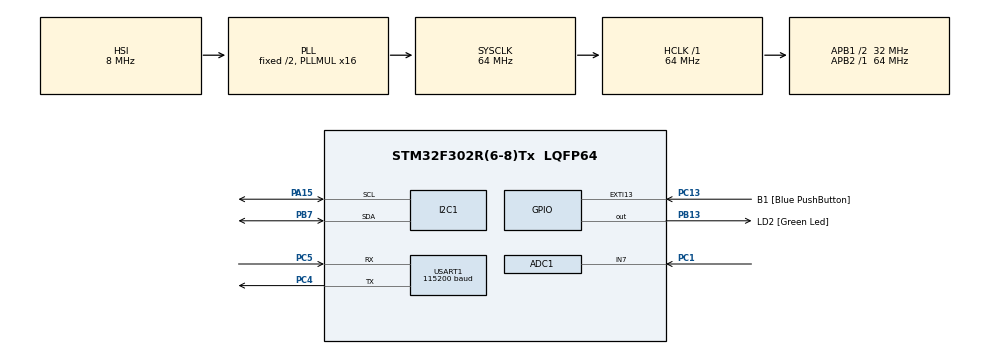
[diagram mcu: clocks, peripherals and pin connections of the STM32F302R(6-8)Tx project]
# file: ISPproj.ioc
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ADC1.Channel-10\#ChannelRegularConversion=ADC_CHANNEL_7
ADC1.ClockPrescaler=ADC_CLOCK_SYNC_PCLK_DIV4
ADC1.ContinuousConvMode=ENABLE
ADC1.DMAContinuousRequests=DISABLE
ADC1.DataAlign=ADC_DATAALIGN_RIGHT
ADC1.DiscontinuousConvMode=DISABLE
ADC1.EOCSelection=ADC_EOC_SEQ_CONV
ADC1.EnableInjectedConversion=DISABLE
ADC1.EnableRegularConversion=ENABLE
ADC1.LowPowerAutoWait=DISABLE
ADC1.NbrOfConversionFlag=1
ADC1.Offset-10\#ChannelRegularConversion=0
ADC1.OffsetNumber-10\#ChannelRegularConversion=ADC_OFFSET_NONE
ADC1.Overrun=ADC_OVR_DATA_OVERWRITTEN
ADC1.Rank-10\#ChannelRegularConversion=1
ADC1.Resolution=ADC_RESOLUTION_12B
ADC1.SamplingTime-10\#ChannelRegularConversion=ADC_SAMPLETIME_1CYCLE_5
ADC1.ScanConvMode=ADC_SCAN_DISABLE
ADC1.SubFamily=STM32F302x8
ADC1.master=1
Mcu.Family=STM32F3
Mcu.Name=STM32F302R(6-8)Tx
Mcu.Package=LQFP64
NVIC.ADC1_IRQn=true\:0\:0\:false\:false\:true\:true
NVIC.PriorityGroup=NVIC_PRIORITYGROUP_0
NVIC.USART1_IRQn=true\:0\:0\:false\:false\:true\:true
PA13.GPIO_Label=TMS
PA13.Signal=SYS_JTMS-SWDIO
PA14.GPIO_Label=TCK
PA14.Signal=SYS_JTCK-SWCLK
PA15.Mode=I2C
PA15.Signal=I2C1_SCL
PA2.GPIO_Label=USART_TX
PA2.GPIO_Mode=GPIO_MODE_AF_PP
PA2.GPIO_PuPd=GPIO_NOPULL
PA2.GPIO_Speed=GPIO_SPEED_FREQ_LOW
PA2.Signal=USART2_TX
PA3.GPIO_Label=USART_RX
PA3.GPIO_Mode=GPIO_MODE_AF_PP
PA3.GPIO_PuPd=GPIO_NOPULL
PA3.GPIO_Speed=GPIO_SPEED_FREQ_LOW
PA3.Signal=USART2_RX
PB13.GPIO_Label=LD2 [Green Led]
PB13.Signal=GPIO_Output
PB3.GPIO_Label=SWO
PB3.Signal=SYS_JTDO-TRACESWO
PB7.Mode=I2C
PB7.Signal=I2C1_SDA
PC1.Signal=ADCx_IN7
PC13.GPIO_Label=B1 [Blue PushButton]
PC13.GPIO_ModeDefaultEXTI=GPIO_MODE_IT_FALLING
PC13.Signal=GPXTI13
PC14\ -\ OSC32_IN.Signal=RCC_OSC32_IN
PC15\ -\ OSC32_OUT.Signal=RCC_OSC32_OUT
PC4.Mode=Asynchronous
PC4.Signal=USART1_TX
PC5.Mode=Asynchronous
PC5.Signal=USART1_RX
PF0-OSC_IN.Signal=RCC_OSC_IN
PF1-OSC_OUT.Signal=RCC_OSC_OUT
ProjectManager.HeapSize=0x200
ProjectManager.StackSize=0x400
ProjectManager.TargetToolchain=SW4STM32
RCC.AHBFreq_Value=64000000
RCC.APB1CLKDivider=RCC_HCLK_DIV2
RCC.APB1Freq_Value=32000000
RCC.APB1TimFreq_Value=64000000
RCC.APB2Freq_Value=64000000
RCC.APB2TimFreq_Value=64000000
RCC.CortexFreq_Value=64000000
RCC.HCLKFreq_Value=64000000
RCC.HSE_VALUE=8000000
RCC.HSI_VALUE=8000000
RCC.LSE_VALUE=32768
RCC.PLLM=8
RCC.PLLMUL=RCC_PLL_MUL16
RCC.PLLN=336
RCC.PLLP=RCC_PLLP_DIV4
RCC.PLLQ=7
RCC.RCC_PLLsource_Clock_Source_FROM_HSE=RCC_HSE_PREDIV_DIV2
RCC.SYSCLKFreq_VALUE=64000000
RCC.SYSCLKSourceVirtual=RCC_SYSCLKSOURCE_PLLCLK
RCC.USBFreq_Value=64000000
SH.ADCx_IN7.0=ADC1_IN7,IN7-Single-Ended
USART1.BaudRate=115200
USART1.VirtualMode-Asynchronous=VM_ASYNC
USART1.WordLength=WORDLENGTH_8B
board=NUCLEO-F302R8

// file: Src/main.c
/**
  ******************************************************************************
  * File Name          : main.c
  * Description        : Main program body
  ******************************************************************************
  ** This notice applies to any and all portions of this file
  * that are not between comment pairs USER CODE BEGIN and
  * USER CODE END. Other portions of this file, whether
  * inserted by the user or by software development tools
  * are owned by their respective copyright owners.
  *
  * COPYRIGHT(c) 2018 STMicroelectronics
  *
  * Redistribution and use in source and binary forms, with or without modification,
  * are permitted provided that the following conditions are met:
  *   1. Redistributions of source code must retain the above copyright notice,
  *      this list of conditions and the following disclaimer.
  *   2. Redistributions in binary form must reproduce the above copyright notice,
  *      this list of conditions and the following disclaimer in the documentation
  *      and/or other materials provided with the distribution.
  *   3. Neither the name of STMicroelectronics nor the names of its contributors
  *      may be used to endorse or promote products derived from this software
  *      without specific prior written permission.
  *
  * THIS SOFTWARE IS PROVIDED BY THE COPYRIGHT HOLDERS AND CONTRIBUTORS "AS IS"
  * AND ANY EXPRESS OR IMPLIED WARRANTIES, INCLUDING, BUT NOT LIMITED TO, THE
  * IMPLIED WARRANTIES OF MERCHANTABILITY AND FITNESS FOR A PARTICULAR PURPOSE ARE
  * DISCLAIMED. IN NO EVENT SHALL THE COPYRIGHT HOLDER OR CONTRIBUTORS BE LIABLE
  * FOR ANY DIRECT, INDIRECT, INCIDENTAL, SPECIAL, EXEMPLARY, OR CONSEQUENTIAL
  * DAMAGES (INCLUDING, BUT NOT LIMITED TO, PROCUREMENT OF SUBSTITUTE GOODS OR
  * SERVICES; LOSS OF USE, DATA, OR PROFITS; OR BUSINESS INTERRUPTION) HOWEVER
  * CAUSED AND ON ANY THEORY OF LIABILITY, WHETHER IN CONTRACT, STRICT LIABILITY,
  * OR TORT (INCLUDING NEGLIGENCE OR OTHERWISE) ARISING IN ANY WAY OUT OF THE USE
  * OF THIS SOFTWARE, EVEN IF ADVISED OF THE POSSIBILITY OF SUCH DAMAGE.
  *
  ******************************************************************************
  */

#include "main.h"
#include "stm32f3xx_hal.h"

/* USER CODE BEGIN Includes */
#include "crc8.h"
#include "si7021.h"
#include "math.h"
#define ADC_RESISTANCE	10000.0
#define B_COEFF	6.7107
#define M_COEFF -1.2147
/* USER CODE END Includes */

ADC_HandleTypeDef hadc1;

I2C_HandleTypeDef hi2c1;

UART_HandleTypeDef huart1;

/* USER CODE BEGIN PV */
/* Private variables ---------------------------------------------------------*/
uint8_t temperature[3], humidity[3];
uint16_t light, length;
uint8_t tx_buffer[50], rx_buffer[50];
uint8_t checksum, adc_ready;
int freq,immediate,normal;
/* USER CODE END PV */

void SystemClock_Config(void);
static void MX_GPIO_Init(void);
static void MX_ADC1_Init(void);
static void MX_I2C1_Init(void);
static void MX_USART1_UART_Init(void);

/* USER CODE BEGIN PFP */
/* Private function prototypes -----------------------------------------------*/
float convertToLux(uint16_t adc_value)
{
	if(adc_value == 0)
		return 0.0;
	static float RLDR, Voltage, lux;

	Voltage = (adc_value * 3.3) / 4095.0;
	RLDR = (ADC_RESISTANCE * (3.3 - Voltage)) / Voltage;

	lux = pow(10.0, B_COEFF) * pow(RLDR, M_COEFF);
	return lux;
}

void HAL_ADC_ConvCpltCallback(ADC_HandleTypeDef * hadc)
{
	light = HAL_ADC_GetValue(hadc);
	HAL_ADC_Stop_IT(hadc);
	adc_ready = 1;
}

void HAL_UART_RxCpltCallback(UART_HandleTypeDef *huart)
{
	int measure_freq;

	sscanf((char *)rx_buffer,"freq:%dimmed:%dnormal:%d", &measure_freq, &immediate, &normal);

	if(immediate == 1) {
		SI7021_Read_Temperature_Hold(temperature, 1);
		checksum = Crc8_Calculate(temperature, 2, 0);

		SI7021_Read_Humidity_Hold(humidity, 1);
		checksum = Crc8_Calculate(humidity, 2, 0);

		length = sprintf((char *) tx_buffer, "Temp:%04.2fHum:%02dLight:%08.2f",
							convertToCelsius(temperature),
							convertToRH(humidity),
							convertToLux(light));

		HAL_UART_Transmit(huart, tx_buffer, length, 50);
	}

	if(normal == 1) {
		freq = measure_freq;
	}

	HAL_UART_Receive_IT(huart, rx_buffer, 21);
}

/* USER CODE END PFP */

int main(void)
{

  /* MCU Configuration----------------------------------------------------------*/

  /* Reset of all peripherals, Initializes the Flash interface and the Systick. */
  HAL_Init();

  /* Configure the system clock */
  SystemClock_Config();

  /* Initialize all configured peripherals */
  MX_GPIO_Init();
  MX_ADC1_Init();
  MX_I2C1_Init();
  MX_USART1_UART_Init();

  /* USER CODE BEGIN 2 */
  SI7021_Init(&hi2c1);
  HAL_UART_Receive_IT(&huart1, rx_buffer,21);
  freq=4;
  /* USER CODE END 2 */

  /* Infinite loop */
  while (1)
  {

  /* USER CODE BEGIN 3 */
	adc_ready = 0;
	HAL_Delay(60000/freq);

	HAL_ADC_Start_IT(&hadc1);
	while(!adc_ready){}

	SI7021_Read_Temperature_Hold(temperature, 1);
	checksum = Crc8_Calculate(temperature, 2, 0);

	while(checksum != temperature[2])
	{
		SI7021_Read_Temperature_Hold(temperature, 1);
		checksum = Crc8_Calculate(temperature, 2, 0);
	}

	SI7021_Read_Humidity_Hold(humidity, 1);
	checksum = Crc8_Calculate(humidity, 2, 0);

	while(checksum != humidity[2])
	{
		SI7021_Read_Humidity_Hold(humidity, 1);
		checksum = Crc8_Calculate(humidity, 2, 0);
	}

	length = sprintf((char *) tx_buffer, "Temp:%04.2fHum:%02dLight:%08.2f",
						convertToCelsius(temperature),
						convertToRH(humidity),
						convertToLux(light));

	HAL_UART_Transmit(&huart1, tx_buffer, length, 50);
  }
  /* USER CODE END 3 */

}

/** System Clock Configuration
*/
void SystemClock_Config(void)
{

  RCC_OscInitTypeDef RCC_OscInitStruct;
  RCC_ClkInitTypeDef RCC_ClkInitStruct;
  RCC_PeriphCLKInitTypeDef PeriphClkInit;

    /**Initializes the CPU, AHB and APB busses clocks
    */
  RCC_OscInitStruct.OscillatorType = RCC_OSCILLATORTYPE_HSI;
  RCC_OscInitStruct.HSIState = RCC_HSI_ON;
  RCC_OscInitStruct.HSICalibrationValue = 16;
  RCC_OscInitStruct.PLL.PLLState = RCC_PLL_ON;
  RCC_OscInitStruct.PLL.PLLSource = RCC_PLLSOURCE_HSI;
  RCC_OscInitStruct.PLL.PLLMUL = RCC_PLL_MUL16;
  if (HAL_RCC_OscConfig(&RCC_OscInitStruct) != HAL_OK)
  {
    _Error_Handler(__FILE__, __LINE__);
  }

    /**Initializes the CPU, AHB and APB busses clocks
    */
  RCC_ClkInitStruct.ClockType = RCC_CLOCKTYPE_HCLK|RCC_CLOCKTYPE_SYSCLK
                              |RCC_CLOCKTYPE_PCLK1|RCC_CLOCKTYPE_PCLK2;
  RCC_ClkInitStruct.SYSCLKSource = RCC_SYSCLKSOURCE_PLLCLK;
  RCC_ClkInitStruct.AHBCLKDivider = RCC_SYSCLK_DIV1;
  RCC_ClkInitStruct.APB1CLKDivider = RCC_HCLK_DIV2;
  RCC_ClkInitStruct.APB2CLKDivider = RCC_HCLK_DIV1;

  if (HAL_RCC_ClockConfig(&RCC_ClkInitStruct, FLASH_LATENCY_2) != HAL_OK)
  {
    _Error_Handler(__FILE__, __LINE__);
  }

  PeriphClkInit.PeriphClockSelection = RCC_PERIPHCLK_USART1|RCC_PERIPHCLK_I2C1;
  PeriphClkInit.Usart1ClockSelection = RCC_USART1CLKSOURCE_PCLK1;
  PeriphClkInit.I2c1ClockSelection = RCC_I2C1CLKSOURCE_HSI;
  if (HAL_RCCEx_PeriphCLKConfig(&PeriphClkInit) != HAL_OK)
  {
    _Error_Handler(__FILE__, __LINE__);
  }

    /**Configure the Systick interrupt time
    */
  HAL_SYSTICK_Config(HAL_RCC_GetHCLKFreq()/1000);

    /**Configure the Systick
    */
  HAL_SYSTICK_CLKSourceConfig(SYSTICK_CLKSOURCE_HCLK);

  /* SysTick_IRQn interrupt configuration */
  HAL_NVIC_SetPriority(SysTick_IRQn, 0, 0);
}

/* ADC1 init function */
static void MX_ADC1_Init(void)
{

  ADC_ChannelConfTypeDef sConfig;

    /**Common config
    */
  hadc1.Instance = ADC1;
  hadc1.Init.ClockPrescaler = ADC_CLOCK_SYNC_PCLK_DIV4;
  hadc1.Init.Resolution = ADC_RESOLUTION_12B;
  hadc1.Init.ScanConvMode = ADC_SCAN_DISABLE;
  hadc1.Init.ContinuousConvMode = ENABLE;
  hadc1.Init.DiscontinuousConvMode = DISABLE;
  hadc1.Init.ExternalTrigConvEdge = ADC_EXTERNALTRIGCONVEDGE_NONE;
  hadc1.Init.ExternalTrigConv = ADC_SOFTWARE_START;
  hadc1.Init.DataAlign = ADC_DATAALIGN_RIGHT;
  hadc1.Init.NbrOfConversion = 1;
  hadc1.Init.DMAContinuousRequests = DISABLE;
  hadc1.Init.EOCSelection = ADC_EOC_SEQ_CONV;
  hadc1.Init.LowPowerAutoWait = DISABLE;
  hadc1.Init.Overrun = ADC_OVR_DATA_OVERWRITTEN;
  if (HAL_ADC_Init(&hadc1) != HAL_OK)
  {
    _Error_Handler(__FILE__, __LINE__);
  }

    /**Configure Regular Channel
    */
  sConfig.Channel = ADC_CHANNEL_7;
  sConfig.Rank = 1;
  sConfig.SingleDiff = ADC_SINGLE_ENDED;
  sConfig.SamplingTime = ADC_SAMPLETIME_1CYCLE_5;
  sConfig.OffsetNumber = ADC_OFFSET_NONE;
  sConfig.Offset = 0;
  if (HAL_ADC_ConfigChannel(&hadc1, &sConfig) != HAL_OK)
  {
    _Error_Handler(__FILE__, __LINE__);
  }

}

/* I2C1 init function */
static void MX_I2C1_Init(void)
{

  hi2c1.Instance = I2C1;
  hi2c1.Init.Timing = 0x2000090E;
  hi2c1.Init.OwnAddress1 = 0;
  hi2c1.Init.AddressingMode = I2C_ADDRESSINGMODE_7BIT;
  hi2c1.Init.DualAddressMode = I2C_DUALADDRESS_DISABLE;
  hi2c1.Init.OwnAddress2 = 0;
  hi2c1.Init.OwnAddress2Masks = I2C_OA2_NOMASK;
  hi2c1.Init.GeneralCallMode = I2C_GENERALCALL_DISABLE;
  hi2c1.Init.NoStretchMode = I2C_NOSTRETCH_DISABLE;
  if (HAL_I2C_Init(&hi2c1) != HAL_OK)
  {
    _Error_Handler(__FILE__, __LINE__);
  }

    /**Configure Analogue filter
    */
  if (HAL_I2CEx_ConfigAnalogFilter(&hi2c1, I2C_ANALOGFILTER_ENABLE) != HAL_OK)
  {
    _Error_Handler(__FILE__, __LINE__);
  }

    /**Configure Digital filter
    */
  if (HAL_I2CEx_ConfigDigitalFilter(&hi2c1, 0) != HAL_OK)
  {
    _Error_Handler(__FILE__, __LINE__);
  }

}

/* USART1 init function */
static void MX_USART1_UART_Init(void)
{

  huart1.Instance = USART1;
  huart1.Init.BaudRate = 115200;
  huart1.Init.WordLength = UART_WORDLENGTH_8B;
  huart1.Init.StopBits = UART_STOPBITS_1;
  huart1.Init.Parity = UART_PARITY_NONE;
  huart1.Init.Mode = UART_MODE_TX_RX;
  huart1.Init.HwFlowCtl = UART_HWCONTROL_NONE;
  huart1.Init.OverSampling = UART_OVERSAMPLING_16;
  huart1.Init.OneBitSampling = UART_ONE_BIT_SAMPLE_DISABLE;
  huart1.AdvancedInit.AdvFeatureInit = UART_ADVFEATURE_NO_INIT;
  if (HAL_UART_Init(&huart1) != HAL_OK)
  {
    _Error_Handler(__FILE__, __LINE__);
  }

}

/** Configure pins as
        * Analog
        * Input
        * Output
        * EVENT_OUT
        * EXTI
     PA2   ------> USART2_TX
     PA3   ------> USART2_RX
*/
static void MX_GPIO_Init(void)
{

  GPIO_InitTypeDef GPIO_InitStruct;

  /* GPIO Ports Clock Enable */
  __HAL_RCC_GPIOC_CLK_ENABLE();
  __HAL_RCC_GPIOF_CLK_ENABLE();
  __HAL_RCC_GPIOA_CLK_ENABLE();
  __HAL_RCC_GPIOB_CLK_ENABLE();

  /*Configure GPIO pin Output Level */
  HAL_GPIO_WritePin(LD2_GPIO_Port, LD2_Pin, GPIO_PIN_RESET);

  /*Configure GPIO pin : B1_Pin */
  GPIO_InitStruct.Pin = B1_Pin;
  GPIO_InitStruct.Mode = GPIO_MODE_IT_FALLING;
  GPIO_InitStruct.Pull = GPIO_NOPULL;
  HAL_GPIO_Init(B1_GPIO_Port, &GPIO_InitStruct);

  /*Configure GPIO pins : USART_TX_Pin USART_RX_Pin */
  GPIO_InitStruct.Pin = USART_TX_Pin|USART_RX_Pin;
  GPIO_InitStruct.Mode = GPIO_MODE_AF_PP;
  GPIO_InitStruct.Pull = GPIO_NOPULL;
  GPIO_InitStruct.Speed = GPIO_SPEED_FREQ_LOW;
  GPIO_InitStruct.Alternate = GPIO_AF7_USART2;
  HAL_GPIO_Init(GPIOA, &GPIO_InitStruct);

  /*Configure GPIO pin : LD2_Pin */
  GPIO_InitStruct.Pin = LD2_Pin;
  GPIO_InitStruct.Mode = GPIO_MODE_OUTPUT_PP;
  GPIO_InitStruct.Pull = GPIO_NOPULL;
  GPIO_InitStruct.Speed = GPIO_SPEED_FREQ_LOW;
  HAL_GPIO_Init(LD2_GPIO_Port, &GPIO_InitStruct);

}

void _Error_Handler(char * file, int line)
{
  while(1)
  {
  }
}

/************************ (C) COPYRIGHT STMicroelectronics *****END OF FILE****/
